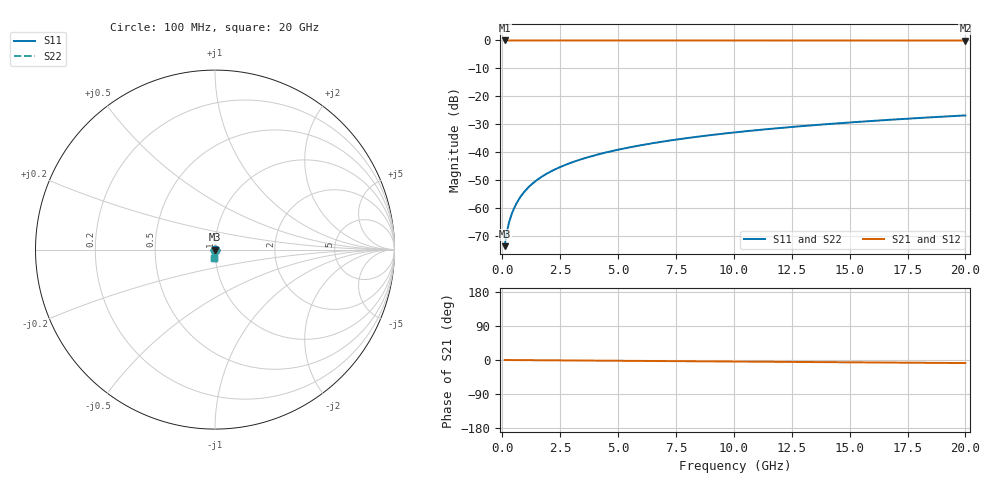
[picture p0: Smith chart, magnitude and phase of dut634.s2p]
! Touchstone file exported from HFSS 2026.1.0
!  File:  C:/ffzhzh/LocalFiles/Ansys_Project_Files/temp_train_TSV_634_1783026264_53980.aedt
!  Generated:  05:05:57 AM Jul  3, 2026
!  Design:  TSV
!  Project:  temp_train_TSV_634_1783026264_53980
! Variables:
!  h_bsmrdl = 2um
!  h_ox = 20um
!  h_rdl = 5um
!  h_sub = 79.96um
!  h_tmrdl = 5um
!  h_tsv = 79.96um
!  h_via = 3um
!  l_bsmrdl = 300um
!  l_sub = 423.24um
!  l_tmrdl = 200um
!  m_sub = 200um
!  pitch = 34.82um
!  r_tsv = 11.62um
!  s_tmrdl = 10um
!  w_bsmrdl = 18um
!  w_sub = 500um
!  w_tmrdl = 12um
!  x_tsv_center1 = 206um
!  x_tsv_center2 = 524um
!  x_tsv_center3 = 736um
!  x_tsv_center4 = 1054um
!  x_tsv_center5 = 1266um
!  x_tsv_center6 = 1584um
# GHz S MA R 50.000000
! Terminal data exported
! Port[1] = TSV1_1_T1
! Port[2] = TSV1_1_T2
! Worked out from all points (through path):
!   200 points, 100 MHz to 20 GHz, reference 50 ohm
!   highest |S21| = 0.00 dB at 100 MHz (marker M1); lowest = 0.0 dB at 20 GHz (marker M2)
!   group delay of S21, straight-line fit = 1.12 ps
!   lowest |S11| = -73.5 dB at 100 MHz (marker M3), VSWR 1.00, Z = 50 - j0.0182 ohm
!   |S11| at or under -10 dB: start of sweep to end of sweep
!   |S22| runs from -73.5 to -26.8 dB; largest |S21 - S12| = 4e-15
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0.1  0.0002116 -59.1  0.9999 -0.0  0.9999 -0.0  0.0002116 -59.1
! Gamma 0 0 0 0
! Port Impedance 50 0 50 0
0.2  0.0003873 -71.4  0.9999 -0.1  0.9999 -0.1  0.0003873 -71.4
0.3  0.000578 -75.4  0.9999 -0.1  0.9999 -0.1  0.000578 -75.4
0.4  0.0007785 -77.3  0.9998 -0.2  0.9998 -0.2  0.0007785 -77.3
0.5  0.0009868 -78.5  0.9998 -0.2  0.9998 -0.2  0.0009868 -78.5
0.7  0.00142 -80.1  0.9997 -0.3  0.9997 -0.3  0.00142 -80.1
0.8  0.001642 -80.8  0.9997 -0.3  0.9997 -0.3  0.001642 -80.8
1  0.00209 -81.9  0.9997 -0.4  0.9997 -0.4  0.00209 -81.9
1.2  0.002542 -82.8  0.9997 -0.5  0.9997 -0.5  0.002542 -82.8
1.4  0.002995 -83.6  0.9996 -0.6  0.9996 -0.6  0.002995 -83.6
1.7  0.003674 -84.5  0.9996 -0.7  0.9996 -0.7  0.003674 -84.5
2  0.004354 -85.3  0.9996 -0.8  0.9996 -0.8  0.004354 -85.3
2.7  0.005938 -86.5  0.9995 -1.1  0.9995 -1.1  0.005938 -86.5
3.5  0.007754 -87.5  0.9994 -1.4  0.9994 -1.4  0.007754 -87.5
4.2  0.009349 -88.1  0.9994 -1.7  0.9994 -1.7  0.009349 -88.1
5  0.01118 -88.8  0.9993 -2.0  0.9993 -2.0  0.01118 -88.8
6.8  0.01532 -89.9  0.9991 -2.8  0.9991 -2.8  0.01532 -89.9
8.3  0.01878 -90.8  0.999 -3.4  0.999 -3.4  0.01878 -90.8
10.1  0.02294 -91.8  0.9988 -4.1  0.9988 -4.1  0.02294 -91.8
13.4  0.03057 -93.4  0.9985 -5.4  0.9985 -5.4  0.03057 -93.4
16.7  0.0382 -95.0  0.9981 -6.7  0.9981 -6.7  0.0382 -95.0
20  0.04583 -96.4  0.9976 -8.1  0.9976 -8.1  0.04583 -96.4
